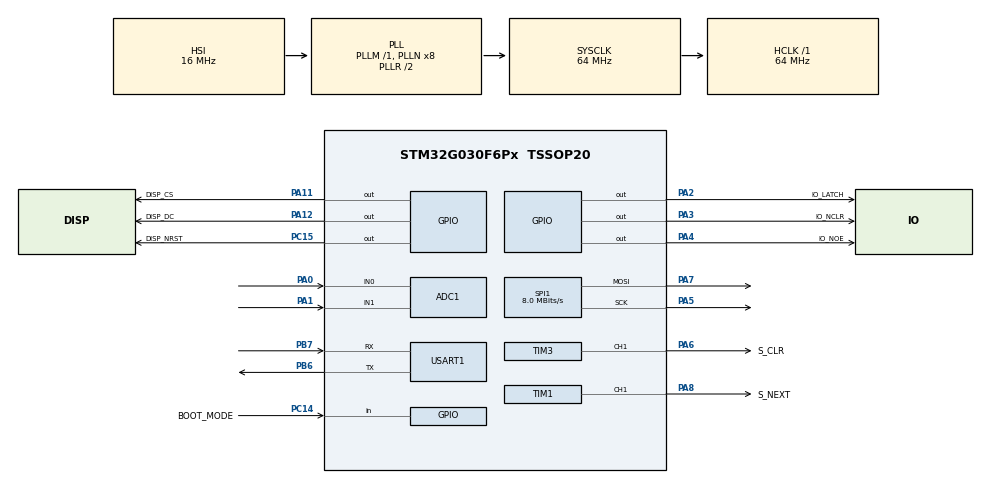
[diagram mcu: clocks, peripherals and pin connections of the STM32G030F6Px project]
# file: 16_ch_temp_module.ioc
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ADC1.Channel-0\#ChannelRegularConversion=ADC_CHANNEL_0
ADC1.Channel-1\#ChannelRegularConversion=ADC_CHANNEL_1
ADC1.ExternalTrigConv=ADC_EXTERNALTRIG_T1_CC4
ADC1.NbrOfConversion=2
ADC1.NbrOfConversionFlag=1
ADC1.OversamplingMode=ENABLE
ADC1.Rank-0\#ChannelRegularConversion=1
ADC1.Rank-1\#ChannelRegularConversion=2
ADC1.Ratio=ADC_OVERSAMPLING_RATIO_256
ADC1.RightBitShift=ADC_RIGHTBITSHIFT_4
ADC1.SamplingTime-0\#ChannelRegularConversion=ADC_SAMPLINGTIME_COMMON_1
ADC1.SamplingTime-1\#ChannelRegularConversion=ADC_SAMPLINGTIME_COMMON_1
ADC1.SamplingTimeCommon1=ADC_SAMPLETIME_19CYCLES_5
ADC1.SelectedChannel=ADC_CHANNEL_0|ADC_CHANNEL_1
ADC1.master=1
Dma.ADC1.0.Direction=DMA_PERIPH_TO_MEMORY
Dma.ADC1.0.EventEnable=DISABLE
Dma.ADC1.0.Instance=DMA1_Channel1
Dma.ADC1.0.MemDataAlignment=DMA_MDATAALIGN_HALFWORD
Dma.ADC1.0.MemInc=DMA_MINC_ENABLE
Dma.ADC1.0.Mode=DMA_NORMAL
Dma.ADC1.0.PeriphDataAlignment=DMA_PDATAALIGN_HALFWORD
Dma.ADC1.0.PeriphInc=DMA_PINC_DISABLE
Dma.ADC1.0.Polarity=HAL_DMAMUX_REQ_GEN_RISING
Dma.ADC1.0.Priority=DMA_PRIORITY_LOW
Dma.ADC1.0.RequestNumber=1
Dma.ADC1.0.SignalID=NONE
Dma.ADC1.0.SyncEnable=DISABLE
Dma.ADC1.0.SyncPolarity=HAL_DMAMUX_SYNC_NO_EVENT
Dma.ADC1.0.SyncRequestNumber=1
Dma.ADC1.0.SyncSignalID=NONE
Dma.Request0=ADC1
Mcu.Family=STM32G0
Mcu.Name=STM32G030F6Px
Mcu.Package=TSSOP20
NVIC.DMA1_Channel1_IRQn=true\:0\:0\:false\:false\:true\:false\:true\:true
PA0.Mode=IN0
PA0.Signal=ADC1_IN0
PA1.Mode=IN1
PA1.Signal=ADC1_IN1
PA11\ [PA9].GPIO_Label=DISP_CS
PA11\ [PA9].Signal=GPIO_Output
PA12\ [PA10].GPIO_Label=DISP_DC
PA12\ [PA10].Signal=GPIO_Output
PA13.Mode=Serial_Wire
PA13.Signal=SYS_SWDIO
PA14-BOOT0.Mode=Serial_Wire
PA14-BOOT0.Signal=SYS_SWCLK
PA14-BOOT0__PA15.StandardMode=true
PA2.GPIO_Label=IO_LATCH
PA2.Signal=GPIO_Output
PA3.GPIO_Label=IO_NCLR
PA3.Signal=GPIO_Output
PA4.GPIO_Label=IO_NOE
PA4.Signal=GPIO_Output
PA5.Mode=TX_Only_Simplex_Unidirect_Master
PA5.Signal=SPI1_SCK
PA6.GPIO_Label=S_CLR
PA6.Signal=S_TIM3_CH1
PA7.Mode=TX_Only_Simplex_Unidirect_Master
PA7.Signal=SPI1_MOSI
PA8.GPIO_Label=S_NEXT
PA8.Signal=S_TIM1_CH1
PB0__PB1__PB2__PA8.StandardMode=true
PB3__PB4__PB5__PB6.StandardMode=true
PB6.Mode=Asynchronous
PB6.Signal=USART1_TX
PB7.Mode=Asynchronous
PB7.Signal=USART1_RX
PB7__PB8.StandardMode=true
PC14-OSC32_IN\ (PC14).GPIO_Label=BOOT_MODE
PC14-OSC32_IN\ (PC14).Signal=GPIO_Input
PC14-OSC32_IN\ (PC14)__PB9.StandardMode=true
PC15-OSC32_OUT\ (PC15).GPIO_Label=DISP_NRST
PC15-OSC32_OUT\ (PC15).Signal=GPIO_Output
ProjectManager.HeapSize=0x200
ProjectManager.StackSize=0x400
ProjectManager.TargetToolchain=EWARM V8.50
RCC.ADCFreq_Value=64000000
RCC.AHBFreq_Value=64000000
RCC.CortexFreq_Value=64000000
RCC.EXTERNAL_CLOCK_VALUE=12288000
RCC.HCLKFreq_Value=64000000
RCC.HSE_VALUE=8000000
RCC.HSI_VALUE=16000000
RCC.LSE_VALUE=32768
RCC.SYSCLKFreq_VALUE=64000000
RCC.SYSCLKSource=RCC_SYSCLKSOURCE_PLLCLK
RCC.VCOOutputFreq_Value=128000000
SH.S_TIM1_CH1.0=TIM1_CH1,PWM Generation1 CH1
SH.S_TIM3_CH1.0=TIM3_CH1,PWM Generation1 CH1
SPI1.BaudRatePrescaler=SPI_BAUDRATEPRESCALER_8
SPI1.CalculateBaudRate=8.0 MBits/s
SPI1.Direction=SPI_DIRECTION_2LINES
SPI1.Mode=SPI_MODE_MASTER
SPI1.VirtualType=VM_MASTER
TIM1.Channel-PWM\ Generation1\ CH1=TIM_CHANNEL_1
TIM1.Channel-PWM\ Generation4\ No\ Output=TIM_CHANNEL_4
TIM1.OCPolarity_1=TIM_OCPOLARITY_LOW
TIM1.OCPolarity_4=TIM_OCPOLARITY_LOW
TIM1.Period=40000-1
TIM1.Pulse-PWM\ Generation1\ CH1=40000-64
TIM1.Pulse-PWM\ Generation4\ No\ Output=64 * 100
TIM1.TIM_MasterOutputTrigger=TIM_TRGO_ENABLE
TIM1.TIM_MasterOutputTrigger2=TIM_TRGO2_RESET
TIM3.Channel-PWM\ Generation1\ CH1=TIM_CHANNEL_1
TIM3.OCPolarity_1=TIM_OCPOLARITY_LOW
TIM3.Period=40000-1
TIM3.Prescaler=16-1
TIM3.Pulse-PWM\ Generation1\ CH1=40000 -  4
USART1.VirtualMode-Asynchronous=VM_ASYNC
VP_TIM1_VS_ClockSourceINT.Mode=Internal
VP_TIM1_VS_no_output4.Mode=PWM Generation4 No Output
VP_TIM3_VS_ClockSourceINT.Mode=Internal
VP_TIM3_VS_ClockSourceITR.Mode=TriggerSource_ITR0
VP_TIM3_VS_ControllerModeTrigger.Mode=Trigger Mode
board=custom

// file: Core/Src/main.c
/* USER CODE BEGIN Header */

/* USER CODE END Header */
#include "main.h"
#include "adc.h"
#include "dma.h"
#include "spi.h"
#include "tim.h"
#include "usart.h"
#include "gpio.h"

/* USER CODE BEGIN Includes */
#include <uart_log.h>
#include <spi_oled.h>
#include <spi_amux.h>
#include <debug/print.h>
#include <math/random.h>
#include <AFE/pull_mat.h>
/* USER CODE END Includes */

void SystemClock_Config(void);

/* USER CODE BEGIN 0 */
void HAL_ADC_ConvCpltCallback(ADC_HandleTypeDef *hadc)
{
  HAL_GPIO_WritePin(GPIOA, GPIO_PIN_3, GPIO_PIN_SET);
  HAL_GPIO_WritePin(GPIOA, GPIO_PIN_3, GPIO_PIN_RESET);
}

/* USER CODE END 0 */

int main(void)
{

  /* MCU Configuration--------------------------------------------------------*/

  /* Reset of all peripherals, Initializes the Flash interface and the Systick. */
  HAL_Init();

  /* Configure the system clock */
  SystemClock_Config();

  /* Initialize all configured peripherals */
  MX_GPIO_Init();
  MX_DMA_Init();
  MX_ADC1_Init();
  MX_SPI1_Init();
  MX_TIM1_Init();
  MX_TIM3_Init();
  MX_USART1_UART_Init();
  /* USER CODE BEGIN 2 */

  uart_log_init();
  print(INFO, "System started.\n");

  spi_oled_init(&oled);
  print(INFO, "OLED Init done!\n");

  spi_amux_init(&afe_mat);
  print(INFO, "AFE Init done!\n");

  afe_pull_matrix_set(&afe_mat, 0, AMUX_PULL_10K);
  afe_pull_matrix_set(&afe_mat, 3, AMUX_PULL_10K);
  afe_pull_matrix_apply(&afe_mat);
  afe_pull_matrix_enable(&afe_mat);

  rand_lcg_t rand = LCG_DEFAULT_INIT(12345);

  ssd1306_clear_gram(&oled, 0x00);
  ssd1306_display_on(&oled);

  // uint16_t adc_vals[32];
  // HAL_ADC_Start_DMA(&hadc1, (uint32_t *)adc_vals, 32);

  // HAL_TIM_PWM_Start(&htim3, TIM_CHANNEL_1);

  // TIM3->CNT = 40000 - 10 * 4; // 推迟 10us 复位
  // TIM1->CNT = 0;

  // HAL_TIM_PWM_Start(&htim1, TIM_CHANNEL_1);
  // HAL_TIM_PWM_Start(&htim1, TIM_CHANNEL_4);
  /* USER CODE END 2 */

  /* Infinite loop */
  /* USER CODE BEGIN WHILE */

  uint8_t clear_color = 0xff;

  while (1)
  {
    clear_color = ~clear_color;
    HAL_Delay(100);

    ssd1306_set_offset_by_addr(&oled, 0);
    for (int j = 0; j < 8; j++)
    {
      for (int i = 0; i < 128; i++)
      {
        uint8_t data = rand_lcg_next(&rand) & 0xFF;
        ssd1306_append_gram(&oled, &data, 1);
        HAL_Delay(1);
      }
    }

    HAL_Delay(100);
    ssd1306_set_offset_by_addr(&oled, 0);
    for (int j = 0; j < 8; j++)
    {
      for (int i = 0; i < 128; i++)
      {
        uint8_t data = rand_lcg_next(&rand) & 0xFF;
        ssd1306_append_gram(&oled, &clear_color, 1);
        HAL_Delay(1);
      }
    }

    /* USER CODE END WHILE */

  }
}

void SystemClock_Config(void)
{
  RCC_OscInitTypeDef RCC_OscInitStruct = {0};
  RCC_ClkInitTypeDef RCC_ClkInitStruct = {0};

  /** Configure the main internal regulator output voltage
   */
  HAL_PWREx_ControlVoltageScaling(PWR_REGULATOR_VOLTAGE_SCALE1);

  /** Initializes the RCC Oscillators according to the specified parameters
   * in the RCC_OscInitTypeDef structure.
   */
  RCC_OscInitStruct.OscillatorType = RCC_OSCILLATORTYPE_HSI;
  RCC_OscInitStruct.HSIState = RCC_HSI_ON;
  RCC_OscInitStruct.HSIDiv = RCC_HSI_DIV1;
  RCC_OscInitStruct.HSICalibrationValue = RCC_HSICALIBRATION_DEFAULT;
  RCC_OscInitStruct.PLL.PLLState = RCC_PLL_ON;
  RCC_OscInitStruct.PLL.PLLSource = RCC_PLLSOURCE_HSI;
  RCC_OscInitStruct.PLL.PLLM = RCC_PLLM_DIV1;
  RCC_OscInitStruct.PLL.PLLN = 8;
  RCC_OscInitStruct.PLL.PLLP = RCC_PLLP_DIV2;
  RCC_OscInitStruct.PLL.PLLR = RCC_PLLR_DIV2;
  if (HAL_RCC_OscConfig(&RCC_OscInitStruct) != HAL_OK)
  {
    Error_Handler();
  }

  /** Initializes the CPU, AHB and APB buses clocks
   */
  RCC_ClkInitStruct.ClockType = RCC_CLOCKTYPE_HCLK | RCC_CLOCKTYPE_SYSCLK | RCC_CLOCKTYPE_PCLK1;
  RCC_ClkInitStruct.SYSCLKSource = RCC_SYSCLKSOURCE_PLLCLK;
  RCC_ClkInitStruct.AHBCLKDivider = RCC_SYSCLK_DIV1;
  RCC_ClkInitStruct.APB1CLKDivider = RCC_HCLK_DIV1;

  if (HAL_RCC_ClockConfig(&RCC_ClkInitStruct, FLASH_LATENCY_2) != HAL_OK)
  {
    Error_Handler();
  }
}

void Error_Handler(void)
{
  __disable_irq();
  while (1)
  {
  }
}
